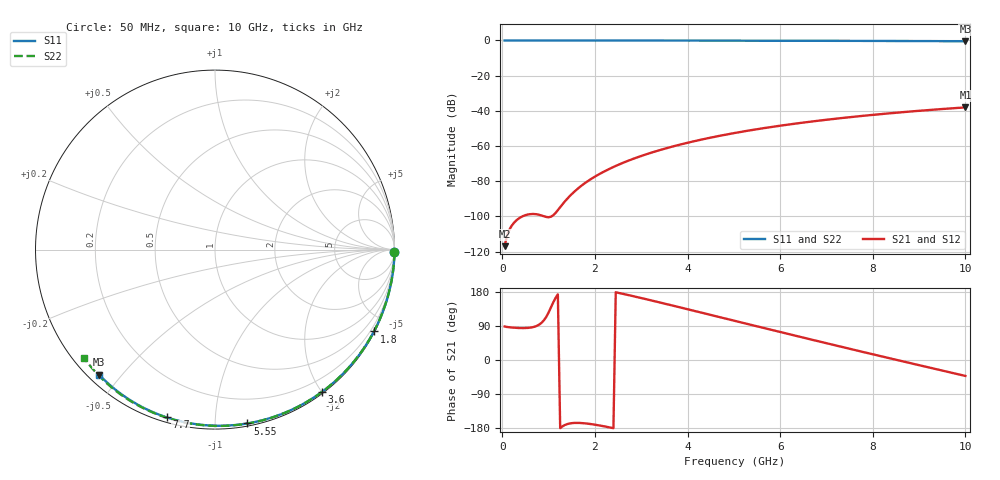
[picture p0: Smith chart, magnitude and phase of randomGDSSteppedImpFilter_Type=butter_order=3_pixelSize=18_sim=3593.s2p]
! freq	dB(S11)	phase(S11)	dB(S12)	phase(S12)
!  dB(S21)	phase(S21)	dB(S22)	phase(S22)
!S-par simulation data
#  GHz  S  DB  R 50
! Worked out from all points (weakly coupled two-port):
!   200 points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, 50 MHz to 10 GHz, reference 50 ohm
!   highest |S21| = -38.05 dB at 10 GHz (marker M1); lowest = -117.0 dB at 50 MHz (marker M2)
!   lowest |S11| = -0.4 dB at 10 GHz (marker M3), VSWR 39.08, Z = 1.52 - j21.8 ohm
!   |S11| at or under -10 dB: nowhere
!   |S22| runs from -0.5 to 0.0 dB; largest |S21 - S12| = 0
!   S11 on the Smith chart (normalised r, x): 50 MHz: open; 1.8 GHz: 0.04, -4.13; 3.6 GHz: 0.02, -2.00; 5.55 GHz: 0.02, -1.20; 7.7 GHz: 0.02, -0.75; 10 GHz: 0.03, -0.44
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0.05  -0.00 -0.8  -116.95 88.4  -116.95 88.4  -0.00 -0.8
0.45  -0.01 -6.9  -99.82 84.2  -99.82 84.2  -0.01 -7.3
0.9  -0.02 -13.7  -99.96 105.0  -99.96 105.0  -0.02 -14.6
1.75  -0.03 -26.5  -81.77 -166.7  -81.77 -166.7  -0.04 -28.0
1.8  -0.03 -27.2  -80.81 -167.3  -80.81 -167.3  -0.04 -28.8
1.85  -0.04 -28.0  -79.91 -168.0  -79.91 -168.0  -0.04 -29.6
2  -0.04 -30.2  -77.42 -170.7  -77.42 -170.7  -0.04 -31.9
2.15  -0.04 -32.4  -75.18 -173.9  -75.18 -173.9  -0.04 -34.3
2.35  -0.05 -35.3  -72.53 -178.7  -72.53 -178.7  -0.05 -37.4
2.55  -0.05 -38.2  -70.18 176.1  -70.18 176.1  -0.05 -40.5
2.95  -0.06 -44.0  -66.13 165.0  -66.13 165.0  -0.06 -46.6
3.4  -0.07 -50.4  -62.34 151.9  -62.34 151.9  -0.07 -53.3
3.6  -0.07 -53.2  -60.85 146.0  -60.85 146.0  -0.08 -56.3
4.3  -0.09 -62.9  -56.36 125.0  -56.36 125.0  -0.09 -66.4
5.05  -0.11 -73.0  -52.46 102.4  -52.46 102.4  -0.12 -77.0
5.55  -0.13 -79.5  -50.25 87.4  -50.25 87.4  -0.14 -83.9
6.1  -0.15 -86.5  -48.09 70.9  -48.09 70.9  -0.16 -91.3
6.7  -0.18 -94.0  -46.02 53.1  -46.02 53.1  -0.19 -99.2
7.7  -0.24 -106.1  -43.08 23.8  -43.08 23.8  -0.26 -111.9
8.35  -0.29 -113.8  -41.45 5.0  -41.45 5.0  -0.31 -120.1
9.2  -0.36 -123.6  -39.58 -19.3  -39.58 -19.3  -0.38 -130.5
10  -0.44 -132.8  -38.05 -42.1  -38.05 -42.1  -0.47 -140.3
